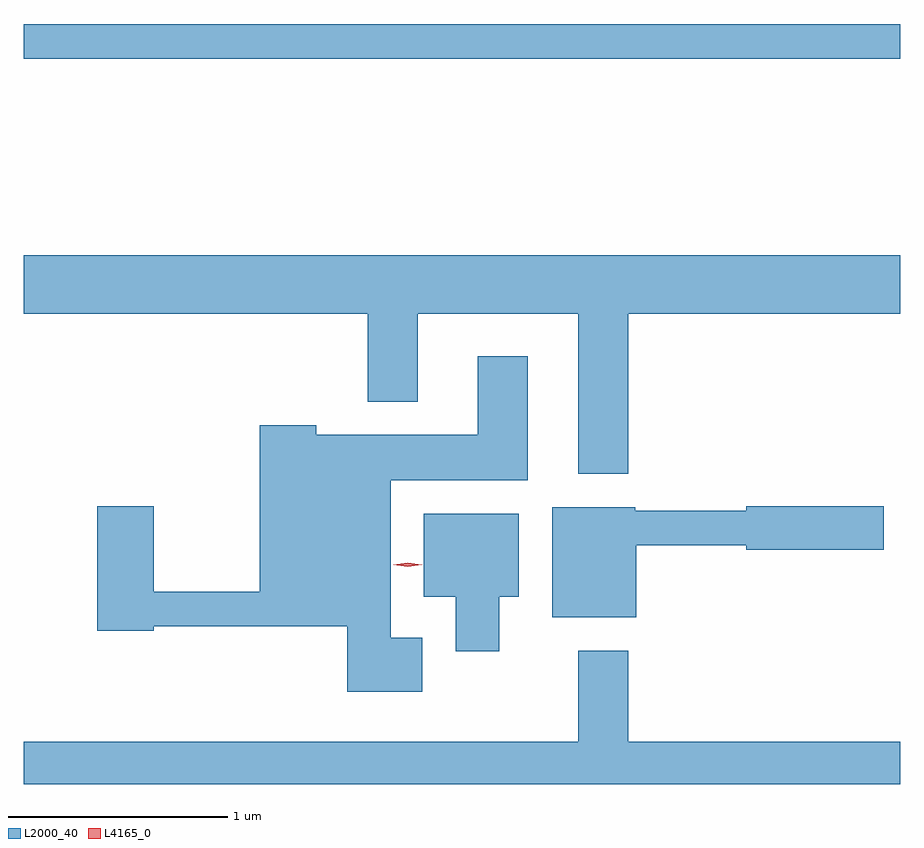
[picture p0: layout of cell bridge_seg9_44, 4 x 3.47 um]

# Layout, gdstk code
import gdstk
lib = gdstk.Library(unit=1e-6, precision=1e-09)
def R(c, l, rs):  # rectangles x0, y0, x1, y1
    for r in rs: c.add(gdstk.rectangle(r[:2], r[2:], *l))
def P(c, l, *ps):  # polygons
    for p in ps: c.add(gdstk.Polygon(p, *l))
L2000_40 = (2000, 40)
L4165_0 = (4165, 0)

bridge_seg9_44 = lib.new_cell('bridge_seg9_44')
R(bridge_seg9_44, L2000_40, [(1517.7,2008.521,1521.7,2008.679)])
P(bridge_seg9_44, L2000_40, [(1520.459,2007.356),(1521.7,2007.356),(1521.7,2007.624),(1517.7,2007.624),(1517.7,2007.356),(1519.271,2007.356),(1519.271,2006.956),(1519.499,2006.956),(1519.499,2007.356),(1520.231,2007.356),(1520.231,2006.626),(1520.459,2006.626)],
  [(1519.519,2005.879),(1519.374,2005.879),(1519.374,2006.596),(1519.999,2006.596),(1519.999,2007.164),(1519.771,2007.164),(1519.771,2006.804),(1519.034,2006.804),(1519.034,2006.849),(1518.776,2006.849),(1518.776,2006.089),(1518.294,2006.089),(1518.294,2006.479),(1518.036,2006.479),(1518.036,2005.911),(1518.294,2005.911),(1518.294,2005.931),(1519.176,2005.931),(1519.176,2005.631),(1519.519,2005.631)],
  [(1520.494,2006.301),(1520.996,2006.301),(1520.996,2006.281),(1521.624,2006.281),(1521.624,2006.479),(1520.996,2006.479),(1520.996,2006.459),(1520.49,2006.459),(1520.49,2006.474),(1520.111,2006.474),(1520.111,2005.971),(1520.494,2005.971)],
  [(1519.869,2006.066),(1519.959,2006.066),(1519.959,2006.444),(1519.526,2006.444),(1519.526,2006.066),(1519.671,2006.066),(1519.671,2005.816),(1519.869,2005.816)],
  [(1521.7,2005.404),(1520.459,2005.404),(1520.459,2005.819),(1520.231,2005.819),(1520.231,2005.404),(1517.7,2005.404),(1517.7,2005.211),(1521.7,2005.211)])
P(bridge_seg9_44, L4165_0, [(1519.452,2006.202),(1519.386,2006.211),(1519.386,2006.212),(1519.386,2006.212),(1519.452,2006.221),(1519.517,2006.212),(1519.518,2006.212),(1519.517,2006.211)])

lib.write_gds('bridge_seg9_44.gds')
